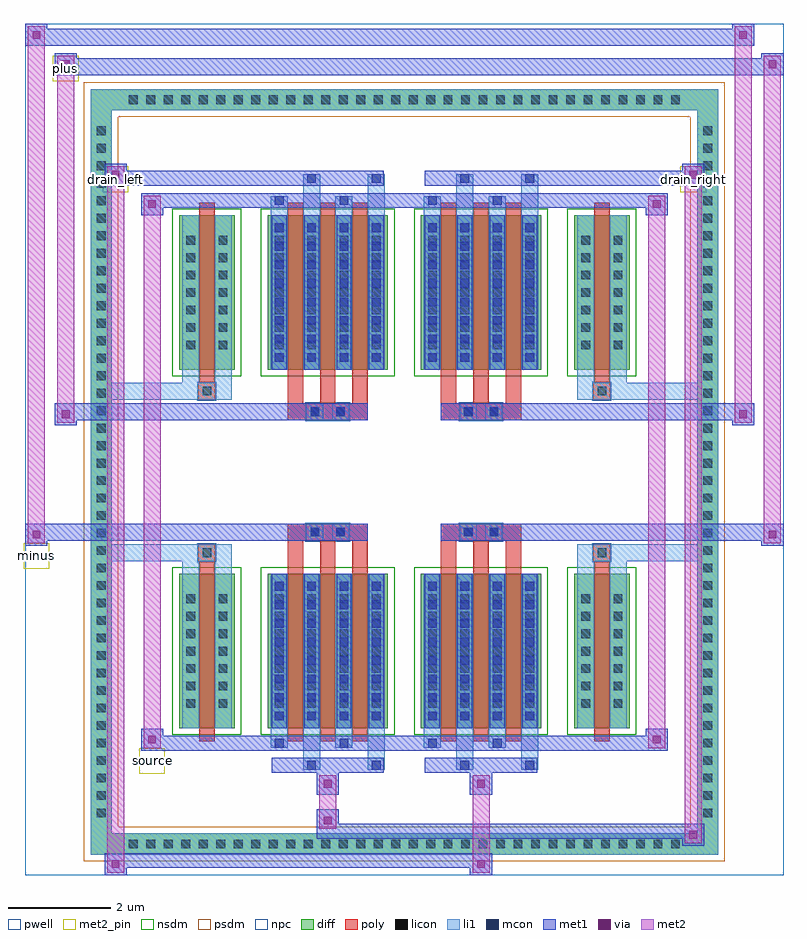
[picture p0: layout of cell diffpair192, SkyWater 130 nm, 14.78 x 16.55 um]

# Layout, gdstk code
import gdstk
lib = gdstk.Library(unit=1e-6, precision=5e-09)
def R(c, l, rs):  # rectangles x0, y0, x1, y1
    for r in rs: c.add(gdstk.rectangle(r[:2], r[2:], *l))
def A(c, l, x, y, w, h, nx, ny, dx, dy):  # array of equal rectangles
    R(c, l, [(x+i*dx, y+j*dy, x+i*dx+w, y+j*dy+h) for i in range(nx) for j in range(ny)])
def P(c, l, *ps):  # polygons
    for p in ps: c.add(gdstk.Polygon(p, *l))
pwell = (64, 44)
diff = (65, 20)
poly = (66, 20)
licon = (66, 44)
li1 = (67, 20)
mcon = (67, 44)
met1 = (68, 20)
via = (68, 44)
met2_pin = (69, 16)
met2 = (69, 20)
nsdm = (93, 44)
psdm = (94, 20)
npc = (95, 20)

diffpair192 = lib.new_cell('diffpair192')
R(diffpair192, pwell, [(-7.37,-7.84,7.37,8.71), (-4.69,-6.03,-0.01,-0.805), (0.01,-6.03,4.69,-0.805), (-4.69,0.805,-0.01,6.03), (0.01,0.805,4.69,6.03)])
A(diffpair192, diff, -5.475, -7.44, 0.41, 0.41, 32, 2, 0.34, 14.47)
A(diffpair192, diff, -6.1, -6.835, 0.41, 0.41, 1, 40, 0, 0.34)
A(diffpair192, diff, 5.69, -6.835, 0.41, 0.41, 1, 40, 0, 0.34)
R(diffpair192, diff, [(-5.475,-7.44,5.475,-7.03), (-6.1,-6.835,-5.69,6.835), (5.69,-6.835,6.1,6.835), (-4.38,-4.985,-3.3,-1.985), (-2.66,-4.985,-0.32,-1.985), (0.32,-4.985,2.66,-1.985), (3.3,-4.985,4.38,-1.985), (-4.38,1.985,-3.3,4.985), (-2.66,1.985,-0.32,4.985), (0.32,1.985,2.66,4.985), (3.3,1.985,4.38,4.985), (-5.475,7.03,5.475,7.44)])
P(diffpair192, diff, [(6.1,7.44),(-6.1,7.44),(-6.1,-7.03),(-5.69,-7.03),(-5.69,7.03),(5.69,7.03),(5.69,-7.03),(-5.69,-7.03),(-6.1,-7.03),(-6.1,-7.44),(6.1,-7.44)])
A(diffpair192, poly, -2.27, -5.235, 0.3, 3.5, 3, 2, 0.63, 6.97)
A(diffpair192, poly, 0.71, -5.235, 0.3, 3.5, 3, 2, 0.63, 6.97)
A(diffpair192, poly, -2.27, -1.735, 0.3, 0.4, 3, 2, 0.63, 3.07)
A(diffpair192, poly, 0.71, -1.735, 0.3, 0.4, 3, 2, 0.63, 3.07)
R(diffpair192, poly, [(-3.99,-5.235,-3.69,-1.735), (3.69,-5.235,3.99,-1.735), (-4.005,-1.735,-3.675,-1.405), (-4.005,-1.735,-3.675,-1.405), (3.675,-1.735,4.005,-1.405), (3.675,-1.735,4.005,-1.405), (-2.27,-1.335,-0.71,-1.005), (-1.905,-1.335,-1.575,-1.005), (-1.405,-1.335,-1.075,-1.005), (0.71,-1.335,2.27,-1.005), (1.075,-1.335,1.405,-1.005), (1.575,-1.335,1.905,-1.005), (-2.27,1.005,-0.71,1.335), (-1.905,1.005,-1.575,1.335), (-1.405,1.005,-1.075,1.335), (0.71,1.005,2.27,1.335), (1.075,1.005,1.405,1.335), (1.575,1.005,1.905,1.335), (-4.005,1.405,-3.675,1.735), (-4.005,1.405,-3.675,1.735), (3.675,1.405,4.005,1.735), (3.675,1.405,4.005,1.735), (-3.99,1.735,-3.69,5.235), (3.69,1.735,3.99,5.235)])
A(diffpair192, licon, -5.355, -7.32, 0.17, 0.17, 32, 2, 0.34, 14.47)
A(diffpair192, licon, -5.98, -6.715, 0.17, 0.17, 1, 40, 0, 0.34)
A(diffpair192, licon, 5.81, -6.715, 0.17, 0.17, 1, 40, 0, 0.34)
A(diffpair192, licon, -4.24, -4.59, 0.17, 0.17, 1, 7, 0, 0.34)
A(diffpair192, licon, -3.61, -4.59, 0.17, 0.17, 1, 7, 0, 0.34)
A(diffpair192, licon, -2.52, -4.59, 0.17, 0.17, 4, 7, 0.63, 0.34)
A(diffpair192, licon, 0.46, -4.59, 0.17, 0.17, 4, 7, 0.63, 0.34)
A(diffpair192, licon, 3.44, -4.59, 0.17, 0.17, 1, 7, 0, 0.34)
A(diffpair192, licon, 4.07, -4.59, 0.17, 0.17, 1, 7, 0, 0.34)
A(diffpair192, licon, -4.24, 2.38, 0.17, 0.17, 1, 7, 0, 0.34)
A(diffpair192, licon, -3.61, 2.38, 0.17, 0.17, 1, 7, 0, 0.34)
A(diffpair192, licon, -2.52, 2.38, 0.17, 0.17, 4, 7, 0.63, 0.34)
A(diffpair192, licon, 0.46, 2.38, 0.17, 0.17, 4, 7, 0.63, 0.34)
A(diffpair192, licon, 3.44, 2.38, 0.17, 0.17, 1, 7, 0, 0.34)
A(diffpair192, licon, 4.07, 2.38, 0.17, 0.17, 1, 7, 0, 0.34)
R(diffpair192, licon, [(-3.925,-1.655,-3.755,-1.485), (3.755,-1.655,3.925,-1.485), (-1.825,-1.255,-1.655,-1.085), (-1.325,-1.255,-1.155,-1.085), (1.155,-1.255,1.325,-1.085), (1.655,-1.255,1.825,-1.085), (-1.825,1.085,-1.655,1.255), (-1.325,1.085,-1.155,1.255), (1.155,1.085,1.325,1.255), (1.655,1.085,1.825,1.255), (-3.925,1.485,-3.755,1.655), (3.755,1.485,3.925,1.655)])
A(diffpair192, li1, -5.435, -7.4, 0.33, 0.33, 32, 2, 0.34, 14.47)
A(diffpair192, li1, -6.06, -6.795, 0.33, 0.33, 1, 40, 0, 0.34)
A(diffpair192, li1, 5.73, -6.795, 0.33, 0.33, 1, 40, 0, 0.34)
A(diffpair192, li1, -2.6, -4.985, 0.33, 3, 4, 2, 0.63, 6.97)
A(diffpair192, li1, 0.38, -4.985, 0.33, 3, 4, 2, 0.63, 6.97)
A(diffpair192, li1, -2.52, -4.83, 0.17, 0.17, 4, 8, 0.63, 0.36)
A(diffpair192, li1, -2.52, -4.83, 0.17, 2.69, 4, 2, 0.63, 6.97)
A(diffpair192, li1, 0.46, -4.83, 0.17, 0.17, 4, 8, 0.63, 0.36)
A(diffpair192, li1, 0.46, -4.83, 0.17, 2.69, 4, 2, 0.63, 6.97)
A(diffpair192, li1, -4.32, -4.67, 0.33, 0.33, 1, 7, 0, 0.34)
A(diffpair192, li1, -3.69, -4.67, 0.33, 0.33, 1, 7, 0, 0.34)
A(diffpair192, li1, -2.6, -4.67, 0.33, 0.33, 4, 7, 0.63, 0.34)
A(diffpair192, li1, 0.38, -4.67, 0.33, 0.33, 4, 7, 0.63, 0.34)
A(diffpair192, li1, 3.36, -4.67, 0.33, 0.33, 1, 7, 0, 0.34)
A(diffpair192, li1, 3.99, -4.67, 0.33, 0.33, 1, 7, 0, 0.34)
A(diffpair192, li1, -2.52, 2.14, 0.17, 0.17, 4, 8, 0.63, 0.36)
A(diffpair192, li1, 0.46, 2.14, 0.17, 0.17, 4, 8, 0.63, 0.36)
A(diffpair192, li1, -4.32, 2.3, 0.33, 0.33, 1, 7, 0, 0.34)
A(diffpair192, li1, -3.69, 2.3, 0.33, 0.33, 1, 7, 0, 0.34)
A(diffpair192, li1, -2.6, 2.3, 0.33, 0.33, 4, 7, 0.63, 0.34)
A(diffpair192, li1, 0.38, 2.3, 0.33, 0.33, 4, 7, 0.63, 0.34)
A(diffpair192, li1, 3.36, 2.3, 0.33, 0.33, 1, 7, 0, 0.34)
A(diffpair192, li1, 3.99, 2.3, 0.33, 0.33, 1, 7, 0, 0.34)
R(diffpair192, li1, [(-6.1,-7.44,-5.69,-7.03), (-6.1,-7.44,-5.69,-7.03), (-5.69,-7.44,5.69,-7.03), (5.69,-7.44,6.1,-7.03), (5.69,-7.44,6.1,-7.03), (-6.1,-7.03,-5.69,7.03), (5.69,-7.03,6.1,7.03), (-1.97,-5.79,-1.64,-4.985), (-1.89,-5.79,-1.72,-5.62), (-0.71,-5.79,-0.38,-4.985), (-0.63,-5.79,-0.46,-5.62), (1.01,-5.79,1.34,-4.985), (1.09,-5.79,1.26,-5.62), (2.27,-5.79,2.6,-4.985), (2.35,-5.79,2.52,-5.62), (-2.6,-5.36,-2.27,-4.985), (-2.52,-5.36,-2.35,-5.19), (-1.34,-5.36,-1.01,-4.985), (-1.26,-5.36,-1.09,-5.19), (0.38,-5.36,0.71,-4.985), (0.46,-5.36,0.63,-5.19), (1.64,-5.36,1.97,-4.985), (1.72,-5.36,1.89,-5.19), (-4.32,-4.985,-3.99,-1.985), (-3.69,-4.985,-3.36,-1.985), (3.36,-4.985,3.69,-1.985), (3.99,-4.985,4.32,-1.985), (-4.32,-1.985,-3.99,-1.405), (-3.69,-1.985,-3.36,-1.405), (3.36,-1.985,3.69,-1.405), (3.99,-1.985,4.32,-1.405), (-6.1,-1.735,-4.005,-1.405), (-4.32,-1.735,-4.005,-1.405), (-4.005,-1.735,-3.675,-1.405), (-3.675,-1.735,-3.36,-1.405), (3.36,-1.735,3.675,-1.405), (3.675,-1.735,4.005,-1.405), (3.675,-1.735,6.1,-1.405), (4.005,-1.735,4.32,-1.405), (-1.905,-1.335,-1.575,-1.005), (-1.405,-1.335,-1.075,-1.005), (1.075,-1.335,1.405,-1.005), (1.575,-1.335,1.905,-1.005), (-1.905,1.005,-1.575,1.335), (-1.405,1.005,-1.075,1.335), (1.075,1.005,1.405,1.335), (1.575,1.005,1.905,1.335), (-6.1,1.405,-4.005,1.735), (-4.32,1.405,-4.005,1.735), (-4.32,1.405,-3.99,1.985), (-4.005,1.405,-3.675,1.735), (-3.69,1.405,-3.36,1.985), (-3.675,1.405,-3.36,1.735), (3.36,1.405,3.675,1.735), (3.36,1.405,3.69,1.985), (3.675,1.405,4.005,1.735), (3.675,1.405,6.1,1.735), (3.99,1.405,4.32,1.985), (4.005,1.405,4.32,1.735), (-4.32,1.985,-3.99,4.985), (-3.69,1.985,-3.36,4.985), (3.36,1.985,3.69,4.985), (3.99,1.985,4.32,4.985), (-2.6,4.985,-2.27,5.36), (-1.97,4.985,-1.64,5.79), (-1.34,4.985,-1.01,5.36), (-0.71,4.985,-0.38,5.79), (0.38,4.985,0.71,5.36), (1.01,4.985,1.34,5.79), (1.64,4.985,1.97,5.36), (2.27,4.985,2.6,5.79), (-2.52,5.19,-2.35,5.36), (-1.26,5.19,-1.09,5.36), (0.46,5.19,0.63,5.36), (1.72,5.19,1.89,5.36), (-1.89,5.62,-1.72,5.79), (-0.63,5.62,-0.46,5.79), (1.09,5.62,1.26,5.79), (2.35,5.62,2.52,5.79), (-6.1,7.03,-5.69,7.44), (-6.1,7.03,-5.69,7.44), (-5.69,7.03,5.69,7.44), (5.69,7.03,6.1,7.44), (5.69,7.03,6.1,7.44)])
A(diffpair192, mcon, -2.52, -4.83, 0.17, 0.17, 4, 8, 0.63, 0.36)
A(diffpair192, mcon, 0.46, -4.83, 0.17, 0.17, 4, 8, 0.63, 0.36)
A(diffpair192, mcon, -2.52, 2.14, 0.17, 0.17, 4, 8, 0.63, 0.36)
A(diffpair192, mcon, 0.46, 2.14, 0.17, 0.17, 4, 8, 0.63, 0.36)
R(diffpair192, mcon, [(-1.89,-5.79,-1.72,-5.62), (-0.63,-5.79,-0.46,-5.62), (1.09,-5.79,1.26,-5.62), (2.35,-5.79,2.52,-5.62), (-2.52,-5.36,-2.35,-5.19), (-1.26,-5.36,-1.09,-5.19), (0.46,-5.36,0.63,-5.19), (1.72,-5.36,1.89,-5.19), (-1.825,-1.255,-1.655,-1.085), (-1.325,-1.255,-1.155,-1.085), (1.155,-1.255,1.325,-1.085), (1.655,-1.255,1.825,-1.085), (-1.825,1.085,-1.655,1.255), (-1.325,1.085,-1.155,1.255), (1.155,1.085,1.325,1.255), (1.655,1.085,1.825,1.255), (-2.52,5.19,-2.35,5.36), (-1.26,5.19,-1.09,5.36), (0.46,5.19,0.63,5.36), (1.72,5.19,1.89,5.36), (-1.89,5.62,-1.72,5.79), (-0.63,5.62,-0.46,5.79), (1.09,5.62,1.26,5.79), (2.35,5.62,2.52,5.79)])
A(diffpair192, met1, -2.58, -4.985, 0.29, 3, 4, 2, 0.63, 6.97)
A(diffpair192, met1, 0.4, -4.985, 0.29, 3, 4, 2, 0.63, 6.97)
A(diffpair192, met1, -2.58, -4.89, 0.29, 0.29, 4, 8, 0.63, 0.36)
A(diffpair192, met1, 0.4, -4.89, 0.29, 0.29, 4, 8, 0.63, 0.36)
A(diffpair192, met1, -2.58, 2.08, 0.29, 0.29, 4, 8, 0.63, 0.36)
A(diffpair192, met1, 0.4, 2.08, 0.29, 0.29, 4, 8, 0.63, 0.36)
R(diffpair192, met1, [(-5.83,-7.84,-5.4,-7.41), (1.275,-7.84,1.705,-7.41), (-5.83,-7.7,1.705,-7.41), (5.4,-7.27,5.83,-6.84), (-1.705,-7.13,5.83,-6.84), (-1.705,-6.99,-1.275,-6.56), (-1.705,-6.28,-1.275,-5.85), (1.275,-6.28,1.705,-5.85), (-2.58,-5.85,-0.4,-5.56), (-1.95,-5.85,-1.66,-5.56), (-0.69,-5.85,-0.4,-5.56), (0.4,-5.85,2.58,-5.56), (1.03,-5.85,1.32,-5.56), (2.29,-5.85,2.58,-5.56), (-5.12,-5.42,-4.69,-4.99), (-5.12,-5.42,-2.58,-5.13), (-2.58,-5.42,-2.29,-5.13), (-2.58,-5.42,-0.4,-5.13), (-1.32,-5.42,-1.03,-5.13), (-0.4,-5.42,0.4,-5.13), (0.4,-5.42,0.69,-5.13), (0.4,-5.42,2.58,-5.13), (1.66,-5.42,1.95,-5.13), (2.58,-5.42,5.12,-5.13), (4.69,-5.42,5.12,-4.99), (-7.37,-1.435,-6.94,-1.005), (6.94,-1.435,7.37,-1.005), (-7.37,-1.335,-0.71,-1.005), (-2.27,-1.335,-0.71,-1.005), (0.71,-1.335,2.27,-1.005), (0.71,-1.335,7.37,-1.005), (-1.885,-1.315,-1.595,-1.025), (-1.385,-1.315,-1.095,-1.025), (1.095,-1.315,1.385,-1.025), (1.595,-1.315,1.885,-1.025), (-6.8,0.905,-6.37,1.335), (6.37,0.905,6.8,1.335), (-6.8,1.005,-2.27,1.335), (-2.27,1.005,-0.71,1.335), (0.71,1.005,2.27,1.335), (2.27,1.005,6.8,1.335), (-1.885,1.025,-1.595,1.315), (-1.385,1.025,-1.095,1.315), (1.095,1.025,1.385,1.315), (1.595,1.025,1.885,1.315), (-5.12,4.99,-4.69,5.42), (4.69,4.99,5.12,5.42), (-5.12,5.13,-2.58,5.42), (-2.58,5.13,-2.29,5.42), (-2.58,5.13,-0.4,5.42), (-1.32,5.13,-1.03,5.42), (-0.4,5.13,0.4,5.42), (0.4,5.13,0.69,5.42), (0.4,5.13,2.58,5.42), (1.66,5.13,1.95,5.42), (2.58,5.13,5.12,5.42), (-5.83,5.56,-5.4,5.99), (-5.83,5.56,-2.58,5.85), (-2.58,5.56,-0.4,5.85), (-1.95,5.56,-1.66,5.85), (-0.69,5.56,-0.4,5.85), (0.4,5.56,2.58,5.85), (1.03,5.56,1.32,5.85), (2.29,5.56,2.58,5.85), (2.58,5.56,5.83,5.85), (5.4,5.56,5.83,5.99), (-6.8,7.71,-6.37,8.14), (-6.8,7.71,-4.69,8.04), (-4.69,7.71,4.69,8.04), (4.69,7.71,7.37,8.04), (6.94,7.71,7.37,8.14), (-7.37,8.28,-6.94,8.71), (-7.37,8.28,-4.69,8.61), (-4.69,8.28,4.69,8.61), (4.69,8.28,6.8,8.61), (6.37,8.28,6.8,8.71)])
R(diffpair192, via, [(-5.69,-7.7,-5.54,-7.55), (1.415,-7.7,1.565,-7.55), (5.54,-7.13,5.69,-6.98), (-1.565,-6.85,-1.415,-6.7), (-1.565,-6.14,-1.415,-5.99), (1.415,-6.14,1.565,-5.99), (-4.98,-5.28,-4.83,-5.13), (4.83,-5.28,4.98,-5.13), (-7.23,-1.295,-7.08,-1.145), (7.08,-1.295,7.23,-1.145), (-6.66,1.045,-6.51,1.195), (6.51,1.045,6.66,1.195), (-4.98,5.13,-4.83,5.28), (4.83,5.13,4.98,5.28), (-5.69,5.7,-5.54,5.85), (5.54,5.7,5.69,5.85), (-6.66,7.85,-6.51,8), (7.08,7.85,7.23,8), (-7.23,8.42,-7.08,8.57), (6.51,8.42,6.66,8.57)])
R(diffpair192, met2_pin, [(-5.155,-5.87,-4.655,-5.37), (-7.405,-1.885,-6.905,-1.385), (-5.865,5.44,-5.365,5.94), (5.365,5.44,5.865,5.94), (-6.835,7.59,-6.335,8.09)])
R(diffpair192, met2, [(-5.78,-7.79,-5.45,-7.46), (-5.78,-7.79,-5.45,5.94), (1.325,-7.79,1.655,-7.46), (1.325,-7.46,1.655,-6.23), (5.45,-7.22,5.78,-6.89), (5.45,-7.22,5.78,5.94), (-1.655,-6.94,-1.325,-6.61), (-1.655,-6.61,-1.325,-6.23), (-1.655,-6.23,-1.325,-5.9), (1.325,-6.23,1.655,-5.9), (-5.07,-5.37,-4.74,-5.04), (-5.07,-5.37,-4.74,5.37), (4.74,-5.37,5.07,-5.04), (4.74,-5.37,5.07,5.37), (-7.32,-1.385,-6.99,-1.055), (-7.32,-1.385,-6.99,8.66), (6.99,-1.385,7.32,-1.055), (6.99,-1.385,7.32,8.09), (-6.75,0.955,-6.42,1.285), (-6.75,0.955,-6.42,8.09), (6.42,0.955,6.75,1.285), (6.42,0.955,6.75,8.66), (-5.07,5.04,-4.74,5.37), (4.74,5.04,5.07,5.37), (-5.78,5.61,-5.45,5.94), (5.45,5.61,5.78,5.94), (-6.75,7.76,-6.42,8.09), (6.99,7.76,7.32,8.09), (-7.32,8.33,-6.99,8.66), (6.42,8.33,6.75,8.66)])
P(diffpair192, met2, [(7.32,-1.385),(7.32,-1.385),(7.32,-1.055),(7.32,-1.055)],
  [(7.32,7.76),(7.32,7.76),(7.32,8.09),(7.32,8.09)],
  [(-6.99,-1.385),(-6.99,-1.385),(-6.99,-1.055),(-6.99,-1.055)],
  [(-6.99,8.33),(-6.99,8.33),(-6.99,8.66),(-6.99,8.66)],
  [(6.75,0.955),(6.75,0.955),(6.75,1.285),(6.75,1.285)],
  [(6.75,8.33),(6.75,8.33),(6.75,8.66),(6.75,8.66)],
  [(-6.42,0.955),(-6.42,0.955),(-6.42,1.285),(-6.42,1.285)],
  [(-6.42,7.76),(-6.42,7.76),(-6.42,8.09),(-6.42,8.09)],
  [(-5.45,-7.79),(-5.45,-7.79),(-5.45,-7.46),(-5.45,-7.46)],
  [(-5.45,5.61),(-5.45,5.61),(-5.45,5.94),(-5.45,5.94)],
  [(5.78,-7.22),(5.78,-7.22),(5.78,-6.89),(5.78,-6.89)],
  [(5.78,5.61),(5.78,5.61),(5.78,5.94),(5.78,5.94)],
  [(-4.74,-5.37),(-4.74,-5.37),(-4.74,-5.04),(-4.74,-5.04)],
  [(-4.74,5.04),(-4.74,5.04),(-4.74,5.37),(-4.74,5.37)],
  [(5.07,-5.37),(5.07,-5.37),(5.07,-5.04),(5.07,-5.04)],
  [(5.07,5.04),(5.07,5.04),(5.07,5.37),(5.07,5.37)])
R(diffpair192, nsdm, [(-4.51,-5.115,-3.17,-1.855), (-2.79,-5.115,-0.19,-1.855), (0.19,-5.115,2.79,-1.855), (3.17,-5.115,4.51,-1.855), (-4.51,1.855,-3.17,5.115), (-2.79,1.855,-0.19,5.115), (0.19,1.855,2.79,5.115), (3.17,1.855,4.51,5.115)])
P(diffpair192, psdm, [(6.23,7.57),(-6.23,7.57),(-6.23,-6.9),(-5.56,-6.9),(-5.56,6.9),(5.56,6.9),(5.56,-6.9),(-5.56,-6.9),(-6.23,-6.9),(-6.23,-7.57),(6.23,-7.57)])
R(diffpair192, npc, [(-4.025,-1.755,-3.655,-1.385), (3.655,-1.755,4.025,-1.385), (-1.925,-1.355,-1.555,-0.985), (-1.925,-1.355,-1.055,-0.985), (-1.925,-1.355,-1.055,-0.985), (-1.425,-1.355,-1.055,-0.985), (1.055,-1.355,1.425,-0.985), (1.055,-1.355,1.925,-0.985), (1.055,-1.355,1.925,-0.985), (1.555,-1.355,1.925,-0.985), (-1.925,0.985,-1.555,1.355), (-1.925,0.985,-1.055,1.355), (-1.925,0.985,-1.055,1.355), (-1.425,0.985,-1.055,1.355), (1.055,0.985,1.425,1.355), (1.055,0.985,1.925,1.355), (1.055,0.985,1.925,1.355), (1.555,0.985,1.925,1.355), (-4.025,1.385,-3.655,1.755), (3.655,1.385,4.025,1.755)])
diffpair192.add(gdstk.Label('minus', (-7.155,-1.635), layer=69, texttype=5))
diffpair192.add(gdstk.Label('drain_right', (5.615,5.69), layer=69, texttype=5))
diffpair192.add(gdstk.Label('drain_left', (-5.615,5.69), layer=69, texttype=5))
diffpair192.add(gdstk.Label('source', (-4.905,-5.62), layer=69, texttype=5))
diffpair192.add(gdstk.Label('plus', (-6.585,7.84), layer=69, texttype=5))

lib.write_gds('diffpair192.gds')
